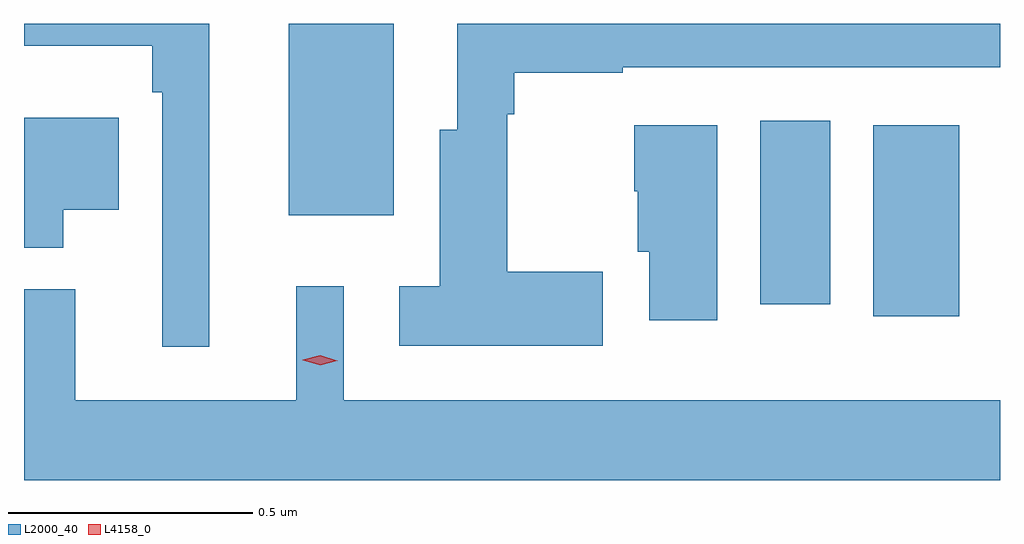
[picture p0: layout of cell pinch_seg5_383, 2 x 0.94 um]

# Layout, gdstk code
import gdstk
lib = gdstk.Library(unit=1e-6, precision=1e-09)
def R(c, l, rs):  # rectangles x0, y0, x1, y1
    for r in rs: c.add(gdstk.rectangle(r[:2], r[2:], *l))
def P(c, l, *ps):  # polygons
    for p in ps: c.add(gdstk.Polygon(p, *l))
L2000_40 = (2000, 40)
L4158_0 = (4158, 0)

pinch_seg5_383 = lib.new_cell('pinch_seg5_383')
R(pinch_seg5_383, L2000_40, [(953.906,889.064,954.082,889.456), (953.675,889.089,953.818,889.465), (952.709,889.271,952.924,889.664)])
P(pinch_seg5_383, L2000_40, [(952.546,889.664),(952.166,889.664),(952.166,889.619),(952.429,889.619),(952.429,889.523),(952.449,889.523),(952.449,889.002),(952.546,889.002)],
  [(953.352,889.156),(953.156,889.156),(953.156,889.478),(953.171,889.478),(953.171,889.563),(953.393,889.563),(953.393,889.575),(954.166,889.575),(954.166,889.664),(953.054,889.664),(953.054,889.447),(953.018,889.447),(953.018,889.126),(952.935,889.126),(952.935,889.004),(953.352,889.004)],
  [(952.246,889.283),(952.36,889.283),(952.36,889.471),(952.166,889.471),(952.166,889.205),(952.246,889.205)],
  [(953.587,889.456),(953.417,889.456),(953.417,889.32),(953.424,889.32),(953.424,889.197),(953.447,889.197),(953.447,889.056),(953.587,889.056)],
  [(954.166,888.892),(952.821,888.892),(952.821,889.126),(952.724,889.126),(952.724,888.892),(952.271,888.892),(952.271,889.12),(952.166,889.12),(952.166,888.728),(954.166,888.728)])
P(pinch_seg5_383, L4158_0, [(952.773,888.964),(952.737,888.974),(952.737,888.975),(952.737,888.975),(952.773,888.984),(952.808,888.973),(952.809,888.973),(952.808,888.973)])

lib.write_gds('pinch_seg5_383.gds')
